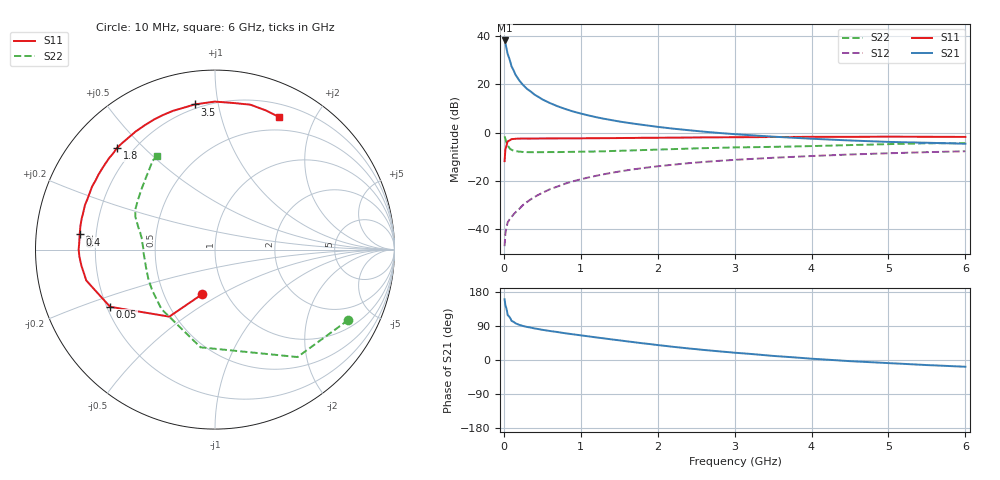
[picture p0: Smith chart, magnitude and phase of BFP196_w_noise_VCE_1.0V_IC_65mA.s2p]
! (c) 2017  Infineon Technologies AG, Munich
! Infineon Technologies  Discrete & RF Semiconductors
! BFP196
! VCE =  1.0 V,  IC =  65 mA
! Common Emitter S-Parameters:  Jan 2017
# GHz  S  MA  R  50
!  f  S11  S21  S12  S22
! GHz  MAG  ANG  MAG  ANG  MAG  ANG  MAG  ANG
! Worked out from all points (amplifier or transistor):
!   77 points, 10 MHz to 6 GHz, reference 50 ohm
!   highest |S21| = 38.2 dB at 10 MHz (marker M1)
!   |S21| within 3 dB of that: start of sweep to 32.74 MHz
!   unconditionally stable (mu >= 1): 361.8 MHz to 2.992 GHz; 3.013 GHz to 3.296 GHz
!   at 130 MHz: K = 0.75, MSG = 29.6 dB, |S12| = -33.7 dB
!   at 2.2 GHz: K = 1.02, MAG = 6.6 dB, |S12| = -13.2 dB
!   at 6 GHz: K = 1.00, MSG = 1.6 dB, |S12| = -7.6 dB
!   lowest NFmin = 1.62 dB at 450 MHz
!   S11 on the Smith chart (normalised r, x): 10 MHz: 0.77, -0.41; 50 MHz: 0.21, -0.24; 400 MHz: 0.14, +0.05; 1.8 GHz: 0.14, +0.42; 3.5 GHz: 0.18, +0.86; 6 GHz: 0.34, +1.54
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0.01  0.2584 -106.0  81.11 160.2  0.0045 74.6  0.8401 -27.8
0.02  0.4521 -124.3  70.83 144.3  0.0082 60.3  0.7546 -52.5
0.05  0.6658 -151.4  42.39 118.4  0.014 47.4  0.5503 -98.4
0.1  0.7374 -166.5  23.57 103.3  0.0182 52.3  0.4458 -132.1
0.15  0.7497 -173.1  16.02 97.0  0.0224 56.7  0.4168 -147.1
0.2  0.7564 -177.0  12.12 92.8  0.0266 59.6  0.4066 -155.7
0.25  0.7597 179.9  9.713 89.7  0.0321 62.1  0.3999 -161.1
0.3  0.7576 177.7  8.11 87.3  0.0368 65.2  0.397 -165.3
0.4  0.7586 173.6  6.12 83.2  0.047 67.0  0.3956 -170.4
0.5  0.7613 170.1  4.901 79.7  0.057 67.5  0.396 -174.1
0.6  0.7626 167.0  4.104 76.5  0.0679 67.4  0.3983 -177.0
0.7  0.7626 164.2  3.523 73.7  0.0775 67.4  0.3976 -179.5
0.9  0.7644 158.3  2.753 67.8  0.099 65.6  0.4025 177.0
1.1  0.7698 152.8  2.281 62.4  0.1189 63.4  0.4077 173.8
1.4  0.7737 144.6  1.826 54.4  0.1481 59.3  0.4185 169.6
1.8  0.7865 133.9  1.459 44.2  0.1849 53.1  0.4376 165.3
2.1  0.7894 126.3  1.268 37.2  0.2101 48.5  0.4528 162.2
3.1  0.8079 105.1  0.912 17.7  0.2802 33.8  0.4993 152.1
3.5  0.8166 97.9  0.83 10.8  0.3035 28.8  0.5105 147.3
4.1  0.8232 88.6  0.739 2.2  0.3346 21.2  0.5343 139.3
5.1  0.8292 75.0  0.641 -9.2  0.3801 9.4  0.586 128.0
6  0.8205 64.3  0.593 -17.8  0.4145 -0.6  0.6108 121.7
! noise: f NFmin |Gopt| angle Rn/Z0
0.45  1.62  0.43  -173  0.06
0.9  1.78  0.49  -160  0.08
1.9  2.59  0.69  -131  0.35
2.4  3  0.7  -118  0.75
